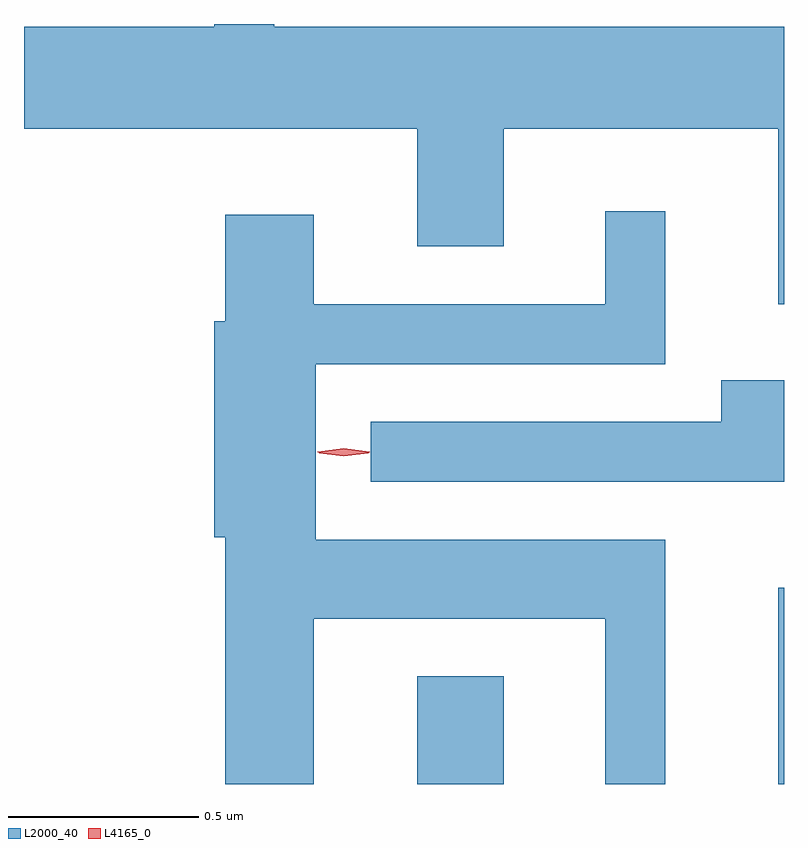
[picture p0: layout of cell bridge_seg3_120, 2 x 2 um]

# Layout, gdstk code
import gdstk
lib = gdstk.Library(unit=1e-6, precision=1e-09)
def R(c, l, rs):  # rectangles x0, y0, x1, y1
    for r in rs: c.add(gdstk.rectangle(r[:2], r[2:], *l))
def P(c, l, *ps):  # polygons
    for p in ps: c.add(gdstk.Polygon(p, *l))
L2000_40 = (2000, 40)
L4165_0 = (4165, 0)

bridge_seg3_120 = lib.new_cell('bridge_seg3_120')
R(bridge_seg3_120, L2000_40, [(1032.021,1221.971,1032.249,1222.254), (1032.971,1221.971,1032.986,1222.488)])
P(bridge_seg3_120, L2000_40, [(1032.986,1223.964),(1031.644,1223.964),(1031.644,1223.971),(1031.486,1223.971),(1031.486,1223.964),(1030.986,1223.964),(1030.986,1223.696),(1032.021,1223.696),(1032.021,1223.386),(1032.249,1223.386),(1032.249,1223.696),(1032.971,1223.696),(1032.971,1223.233),(1032.986,1223.233)],
  [(1031.749,1222.406),(1032.516,1222.406),(1032.516,1221.971),(1032.674,1221.971),(1032.674,1222.614),(1031.754,1222.614),(1031.754,1223.076),(1032.674,1223.076),(1032.674,1223.478),(1032.516,1223.478),(1032.516,1223.234),(1031.749,1223.234),(1031.749,1223.469),(1031.516,1223.469),(1031.516,1223.189),(1031.486,1223.189),(1031.486,1222.621),(1031.516,1222.621),(1031.516,1221.971),(1031.749,1221.971)],
  [(1032.986,1223.034),(1032.821,1223.034),(1032.821,1222.924),(1031.898,1222.924),(1031.898,1222.766),(1032.986,1222.766)])
P(bridge_seg3_120, L4165_0, [(1031.827,1222.835),(1031.759,1222.844),(1031.758,1222.845),(1031.759,1222.846),(1031.827,1222.855),(1031.896,1222.846),(1031.896,1222.845),(1031.896,1222.844)],
  [(1031.828,1222.833),(1031.763,1222.842),(1031.763,1222.843),(1031.763,1222.843),(1031.828,1222.853),(1031.892,1222.843),(1031.893,1222.843),(1031.892,1222.842)])

lib.write_gds('bridge_seg3_120.gds')
